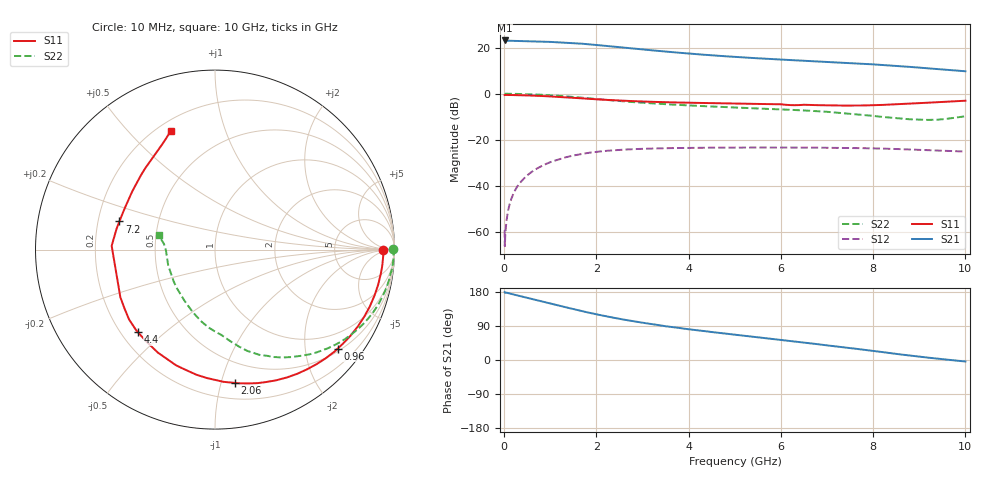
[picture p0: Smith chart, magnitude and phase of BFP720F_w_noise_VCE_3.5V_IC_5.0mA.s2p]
! Infineon Technologies  Discrete & RF Semiconductors
! BFP720F
! VCE =  3.5 V,  IC =  5.0 mA
! Common Emitter S-Parameters:  Jan 2016
# GHz  S  MA  R  50
!  f  S11  S21  S12  S22
! GHz  MAG  ANG  MAG  ANG  MAG  ANG  MAG  ANG
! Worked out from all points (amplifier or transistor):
!   233 points, 10 MHz to 10 GHz, reference 50 ohm
!   highest |S21| = 23.1 dB at 10 MHz (marker M1)
!   |S21| within 3 dB of that: start of sweep to 2.544 GHz
!   unconditionally stable (mu >= 1): 14.53 MHz to 15.21 MHz; 7.765 GHz to end of sweep
!   at 200 MHz: K = 0.06, MSG = 33.1 dB, |S12| = -43.3 dB
!   at 1.74 GHz: K = 0.21, MSG = 23.7 dB, |S12| = -25.9 dB
!   at 10 GHz: K = 1.28, MAG = 14.2 dB, |S12| = -25.1 dB
!   lowest NFmin = 0.41 dB at 450 MHz
!   S11 on the Smith chart (normalised r, x): 10 MHz: 29, +0; 960 MHz: 0.57, -2.73; 2.06 GHz: 0.32, -1.10; 4.4 GHz: 0.27, -0.41; 7.2 GHz: 0.29, +0.13; 10 GHz: 0.25, +0.66
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0.01  0.9336 0.0  14.22 179.1  0.0011 -37.7  0.9895 0.2
0.015  0.9364 -0.4  14.08 178.3  0.0005 0.2  0.9938 -0.5
0.02  0.9393 -0.7  13.94 177.4  0.0007 75.3  0.9982 -1.2
0.05  0.9378 -2.0  14.07 177.7  0.0017 77.7  0.9954 -1.3
0.09  0.9372 -3.6  14.04 176.5  0.0031 83.4  0.9957 -2.3
0.28  0.9304 -11.2  13.87 170.6  0.0096 81.8  0.9885 -7.4
0.8  0.8945 -32.5  13.51 154.9  0.0268 69.1  0.9501 -21.2
0.96  0.8782 -38.9  13.28 150.1  0.0317 65.0  0.9305 -25.4
1.3  0.8409 -52.6  12.73 140.1  0.0411 56.5  0.8826 -34.0
1.68  0.7936 -68.0  12.11 129.2  0.0496 47.6  0.8198 -43.2
2.06  0.7507 -81.6  11.23 119.1  0.0559 39.4  0.7582 -51.4
2.4  0.7205 -92.5  10.4 110.9  0.06 32.8  0.7087 -58.0
2.78  0.6916 -103.1  9.538 102.6  0.0629 26.8  0.6595 -63.8
3.4  0.6591 -117.0  8.348 91.1  0.0657 18.8  0.6012 -71.2
4  0.638 -127.5  7.409 81.1  0.0671 12.6  0.5566 -76.1
4.4  0.6292 -133.1  6.898 75.4  0.0676 9.3  0.5337 -78.6
5.1  0.6134 -142.1  6.18 65.4  0.0682 4.0  0.4967 -83.0
6.8  0.5647 172.0  4.993 41.7  0.0679 -6.9  0.417 -98.5
7.2  0.5551 163.6  4.756 35.8  0.0673 -9.3  0.3902 -104.4
8.4  0.5842 135.1  4.072 17.7  0.064 -16.2  0.302 -134.9
9  0.6251 122.6  3.673 8.6  0.0608 -18.7  0.2752 -161.3
10  0.7052 110.5  3.06 -4.0  0.0559 -20.4  0.3246 165.5
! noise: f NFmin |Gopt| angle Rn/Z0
0.45  0.41  0.49  4  0.15
0.9  0.44  0.48  9  0.17
1.8  0.5  0.44  20  0.17
2.4  0.54  0.41  29  0.14
5.5  0.72  0.37  68  0.1
10  1  0.25  -109  0.15
